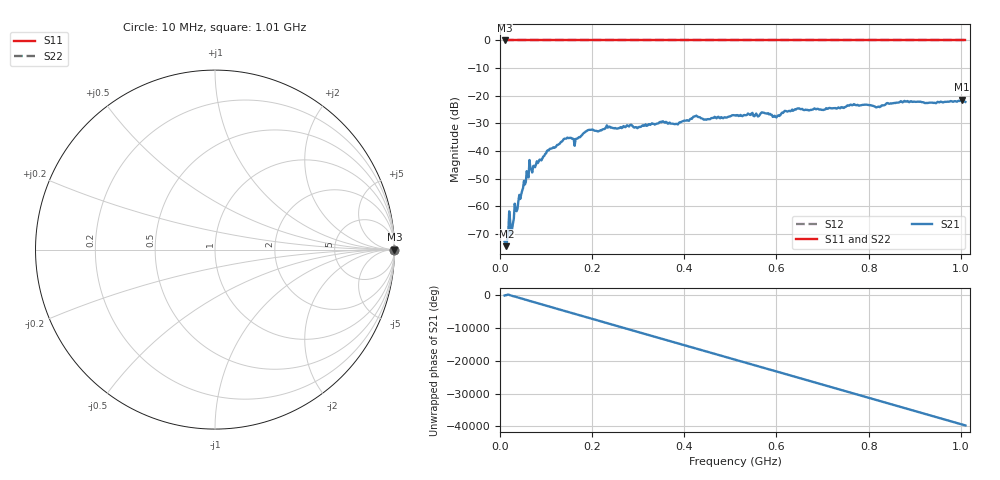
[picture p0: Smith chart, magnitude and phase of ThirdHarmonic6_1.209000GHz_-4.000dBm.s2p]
! 8/16/2025 12:34:49 PM
! C:\ANRITSUVNA\TEMP\TEMP.S2P
! CHANNEL.1
! TR.MEASUREMENT
! RAW.DATA
! RF.CORRECTION.OFF
! AVERAGING.OFF
! IF.BANDWIDTH: 5KHZ
! SWEEPTYPE:  FREQ.SWEEP(Linear)
! Reference Plane Port Info
! PORT:  PORT1  PORT2
! DISTANCE:  0  m  0  m
! TIME:  0  s  0  s
! PHASE.OFFSET:  0  deg.  0  deg.
! LOSS:  0  dB  0  dB
! REF.LOSS:  0  dB  0  dB
! REF.FREQ:  0  Hz  0  Hz
! Power Info
! POWER:  -20  dBm  -20  dBm
! EFF.POWER:  -20  dBm  -20  dBm
! SOURCE.ATTEN:  0  dB  0  dB
! TEST.ATTEN:  0  dB  0  dB
# GHZ S RI R 50.0
! FREQ.GHZ  S11RE  S11IM  S21RE  S21IM  S12RE  S12IM  S22RE  S22IM
!; PortSelection: Port_12
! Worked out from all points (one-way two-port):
!   501 points, 10 MHz to 1.01 GHz, reference 50 ohm
!   highest |S21| = -21.44 dB at 1.002 GHz (marker M1); lowest = -74.5 dB at 14 MHz (marker M2)
!   lowest |S11| = 0.0 dB at 10 MHz (marker M3)
!   |S11| at or under -10 dB: nowhere
!   |S22| runs from 0.0 to 0.0 dB; largest |S21 - S12| = 1.1
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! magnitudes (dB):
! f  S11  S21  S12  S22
! 10 MHz  0.0  -72.8  0.0  0.0
! 14 MHz  0.0  -74.5  0.0  0.0
! 18 MHz  0.0  -69.4  0.0  0.0
! 26 MHz  0.0  -68.7  0.0  0.0
! 36 MHz  0.0  -61.9  0.0  0.0
! 62 MHz  0.0  -49.6  0.0  0.0
! 106 MHz  0.0  -39.8  0.0  0.0
! 142 MHz  0.0  -35.6  0.0  0.0
! 164 MHz  0.0  -35.7  0.0  0.0
! 178 MHz  0.0  -34.3  0.0  0.0
! 234 MHz  0.0  -31.6  0.0  0.0
! 344 MHz  0.0  -30.0  0.0  0.0
! 382 MHz  0.0  -30.2  0.0  0.0
! 424 MHz  0.0  -27.4  0.0  0.0
! 510 MHz  0.0  -27.1  0.0  0.0
! 572 MHz  0.0  -26.1  0.0  0.0
! 596 MHz  0.0  -27.3  0.0  0.0
! 644 MHz  0.0  -24.7  0.0  0.0
! 678 MHz  0.0  -25.0  0.0  0.0
! 844 MHz  0.0  -22.9  0.0  0.0
! 1.002 GHz  0.0  -21.4  0.0  0.0
! 1.01 GHz  0.0  -22.3  0.0  0.0
